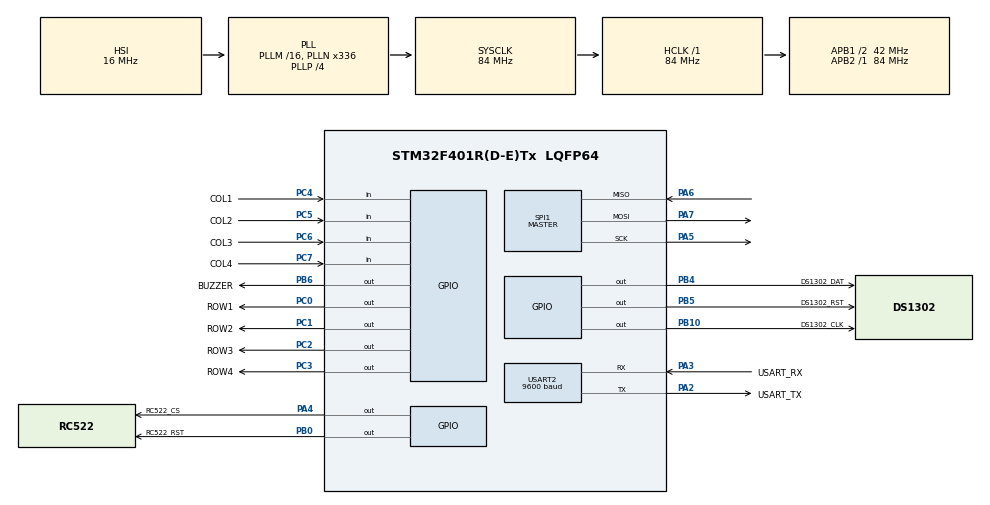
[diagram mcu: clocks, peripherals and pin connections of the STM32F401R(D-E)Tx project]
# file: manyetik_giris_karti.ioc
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Mcu.Family=STM32F4
Mcu.Name=STM32F401R(D-E)Tx
Mcu.Package=LQFP64
NVIC.PriorityGroup=NVIC_PRIORITYGROUP_0
PA14.GPIO_Label=TCK
PA14.Signal=SYS_JTCK-SWCLK
PA2.GPIO_Label=USART_TX
PA2.GPIO_Mode=GPIO_MODE_AF_PP
PA2.GPIO_PuPd=GPIO_NOPULL
PA2.GPIO_Speed=GPIO_SPEED_FREQ_LOW
PA2.Mode=Asynchronous
PA2.Signal=USART2_TX
PA3.GPIO_Label=USART_RX
PA3.GPIO_Mode=GPIO_MODE_AF_PP
PA3.GPIO_PuPd=GPIO_NOPULL
PA3.GPIO_Speed=GPIO_SPEED_FREQ_LOW
PA3.Mode=Asynchronous
PA3.Signal=USART2_RX
PA4.GPIO_Label=RC522_CS
PA4.PinState=GPIO_PIN_RESET
PA4.Signal=GPIO_Output
PA5.Mode=Full_Duplex_Master
PA5.Signal=SPI1_SCK
PA6.Mode=Full_Duplex_Master
PA6.Signal=SPI1_MISO
PA7.Mode=Full_Duplex_Master
PA7.Signal=SPI1_MOSI
PB0.GPIO_Label=RC522_RST
PB0.Signal=GPIO_Output
PB10.GPIO_Label=DS1302_CLK
PB10.Signal=GPIO_Output
PB4.GPIO_Label=DS1302_DAT
PB4.Signal=GPIO_Output
PB5.GPIO_Label=DS1302_RST
PB5.Signal=GPIO_Output
PB6.GPIO_Label=BUZZER
PB6.Signal=GPIO_Output
PC0.GPIO_Label=ROW1
PC0.PinState=GPIO_PIN_SET
PC0.Signal=GPIO_Output
PC1.GPIO_Label=ROW2
PC1.PinState=GPIO_PIN_SET
PC1.Signal=GPIO_Output
PC14-OSC32_IN.Signal=RCC_OSC32_IN
PC15-OSC32_OUT.Signal=RCC_OSC32_OUT
PC2.GPIO_Label=ROW3
PC2.PinState=GPIO_PIN_SET
PC2.Signal=GPIO_Output
PC3.GPIO_Label=ROW4
PC3.PinState=GPIO_PIN_SET
PC3.Signal=GPIO_Output
PC4.GPIO_Label=COL1
PC4.GPIO_PuPd=GPIO_PULLUP
PC4.Signal=GPIO_Input
PC5.GPIO_Label=COL2
PC5.GPIO_PuPd=GPIO_PULLUP
PC5.Signal=GPIO_Input
PC6.GPIO_Label=COL3
PC6.GPIO_PuPd=GPIO_PULLUP
PC6.Signal=GPIO_Input
PC7.GPIO_Label=COL4
PC7.GPIO_PuPd=GPIO_PULLUP
PC7.Signal=GPIO_Input
PH0\ -\ OSC_IN.Signal=RCC_OSC_IN
PH1\ -\ OSC_OUT.Signal=RCC_OSC_OUT
ProjectManager.HeapSize=0x200
ProjectManager.StackSize=0x400
ProjectManager.TargetToolchain=STM32CubeIDE
RCC.AHBFreq_Value=84000000
RCC.APB1CLKDivider=RCC_HCLK_DIV2
RCC.APB1Freq_Value=42000000
RCC.APB1TimFreq_Value=84000000
RCC.APB2Freq_Value=84000000
RCC.APB2TimFreq_Value=84000000
RCC.CortexFreq_Value=84000000
RCC.HCLKFreq_Value=84000000
RCC.HSE_VALUE=8000000
RCC.HSI_VALUE=16000000
RCC.LSE_VALUE=32768
RCC.PLLN=336
RCC.PLLP=RCC_PLLP_DIV4
RCC.PLLQ=7
RCC.SYSCLKFreq_VALUE=84000000
RCC.SYSCLKSource=RCC_SYSCLKSOURCE_PLLCLK
RCC.VCOOutputFreq_Value=336000000
SPI1.Direction=SPI_DIRECTION_2LINES
SPI1.Mode=SPI_MODE_MASTER
SPI1.VirtualType=VM_MASTER
USART2.BaudRate=9600
USART2.VirtualMode=VM_ASYNC
board=NUCLEO-F401RE

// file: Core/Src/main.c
/* USER CODE BEGIN Header */
/**
  ******************************************************************************
  * @file           : main.c
  * @brief          : Main program body
  ******************************************************************************
  */
/* USER CODE END Header */
#include "main.h"

/* USER CODE BEGIN Includes */
#include <stdio.h>
#include <string.h>
#include "ds1302.h"
#include "rc522.h"
/* USER CODE END Includes */

/* USER CODE BEGIN PD */
// Pin Tanımlamaları
#define GPIO_PIN_ROW1 GPIO_PIN_0
#define GPIO_PIN_ROW2 GPIO_PIN_1
#define GPIO_PIN_ROW3 GPIO_PIN_2
#define GPIO_PIN_ROW4 GPIO_PIN_3

#define GPIO_PIN_COL1 GPIO_PIN_4
#define GPIO_PIN_COL2 GPIO_PIN_5
#define GPIO_PIN_COL3 GPIO_PIN_6
#define GPIO_PIN_COL4 GPIO_PIN_7
/* USER CODE END PD */

SPI_HandleTypeDef hspi1;
UART_HandleTypeDef huart2;

void SystemClock_Config(void);
static void MX_GPIO_Init(void);
static void MX_SPI1_Init(void);
static void MX_USART2_UART_Init(void);

/* USER CODE BEGIN 0 */

char keypad_map[4][4] = {
  {'1', '2', '3', 'A'},
  {'4', '5', '6', 'B'},
  {'7', '8', '9', 'C'},
  {'*', '0', '#', 'D'}
};

char Keypad_Oku(void)
{
    uint16_t ROW_PINS[4] = {GPIO_PIN_ROW1, GPIO_PIN_ROW2, GPIO_PIN_ROW3, GPIO_PIN_ROW4};
    uint16_t COL_PINS[4] = {GPIO_PIN_COL1, GPIO_PIN_COL2, GPIO_PIN_COL3, GPIO_PIN_COL4};

    for(int i = 0; i < 4; i++)
    {
        // 1. ÖNCE TÜM SATIRLARI '1' YAP (Elektriği Kes)
        HAL_GPIO_WritePin(GPIOC, GPIO_PIN_ROW1 | GPIO_PIN_ROW2 | GPIO_PIN_ROW3 | GPIO_PIN_ROW4, GPIO_PIN_SET);

        // 2. Sadece o anki satırı '0' YAP (Aktif et)
        HAL_GPIO_WritePin(GPIOC, ROW_PINS[i], GPIO_PIN_RESET);

        // 3. Voltajın oturması için bekle (Hayalet tuşları engeller)
        HAL_Delay(2);

        // 4. Sütunları tara
        for(int j = 0; j < 4; j++)
        {
            // Tuşa basıldı mı? (0 mı okundu?)
            if(HAL_GPIO_ReadPin(GPIOC, COL_PINS[j]) == GPIO_PIN_RESET)
            {
                // Emin olmak için bekle (Debounce)
                HAL_Delay(50);

                // Hala basılı mı?
                if(HAL_GPIO_ReadPin(GPIOC, COL_PINS[j]) == GPIO_PIN_RESET)
                {
                    // Tuşu döndür
                    return keypad_map[i][j];
                }
            }
        }
    }
    return 0; // Tuşa basılmadı
}
/* USER CODE END 0 */

int main(void)
{
  /* USER CODE BEGIN 1 */
  uint8_t CardID[5];
  char buffer[100];
  DS1302_Time time;

  uint32_t son_rfid_kontrol = 0;
  uint32_t son_kart_okuma_zamani = 0;
  /* USER CODE END 1 */

  /* MCU Configuration--------------------------------------------------------*/
  HAL_Init();
  SystemClock_Config();
  MX_GPIO_Init();
  MX_SPI1_Init();
  MX_USART2_UART_Init();

  /* USER CODE BEGIN 2 */
  DS1302_Init();
  MFRC522_Init();
  HAL_UART_Transmit(&huart2, (uint8_t*)"Sistem Baslatildi...\r\n", 22, 100);
  /* USER CODE END 2 */

  /* Infinite loop */
  /* USER CODE BEGIN WHILE */
  while (1)
  {
      // =========================================================
      // 1. KEYPAD KONTROLÜ
      // =========================================================
      char basilanTus = Keypad_Oku();

      if(basilanTus != 0)
      {
          // 1. Veriyi Gönder
          char keyMsg[20];
          sprintf(keyMsg, "KEY:%c\r\n", basilanTus);
          HAL_UART_Transmit(&huart2, (uint8_t*)keyMsg, strlen(keyMsg), 100);

          // 2. Ses Çıkar (Bip)
          HAL_GPIO_WritePin(BUZZER_GPIO_Port, BUZZER_Pin, GPIO_PIN_SET);
          HAL_Delay(50);
          HAL_GPIO_WritePin(BUZZER_GPIO_Port, BUZZER_Pin, GPIO_PIN_RESET);

          // 3. Tuştan parmağını çekene kadar bekle (Spam engelleme)
          while(Keypad_Oku() == basilanTus)
          {
        	  HAL_Delay(10); // İşlemciyi yorma
          }
      }

      // =========================================================
      // 2. RFID KONTROLÜ (ZAMANLAYICI İLE)
      // =========================================================

      uint32_t simdi = HAL_GetTick();

      // 200ms geçtiyse ve son kart okumanın üzerinden 2 saniye geçtiyse
      if ((simdi - son_rfid_kontrol > 200) && (simdi - son_kart_okuma_zamani > 2000))
      {
          son_rfid_kontrol = simdi;

          if (MFRC522_Check(CardID) == MI_OK)
          {
              // Kart bulundu!
              DS1302_GetTime(&time);

              // Ses
              HAL_GPIO_WritePin(BUZZER_GPIO_Port, BUZZER_Pin, GPIO_PIN_SET);
              HAL_Delay(100);
              HAL_GPIO_WritePin(BUZZER_GPIO_Port, BUZZER_Pin, GPIO_PIN_RESET);

              // Veri Gönderimi
              sprintf(buffer, "UID:%02X-%02X-%02X-%02X-%02X,TARIH:%02d/%02d/20%02d %02d:%02d:%02d\r\n",
              CardID[0], CardID[1], CardID[2], CardID[3], CardID[4],
              time.dayofmonth, time.month, time.year,
              time.hour, time.minutes, time.seconds);

              HAL_UART_Transmit(&huart2, (uint8_t*)buffer, strlen(buffer), 100);

              // Kart okundu, cooldown başlat
              son_kart_okuma_zamani = HAL_GetTick();
          }
      }

      // Döngü çok hızlı dönüp işlemciyi yormasın
      HAL_Delay(1);
  }
  /* USER CODE END WHILE */
}

void SystemClock_Config(void)
{
  RCC_OscInitTypeDef RCC_OscInitStruct = {0};
  RCC_ClkInitTypeDef RCC_ClkInitStruct = {0};

  /** Configure the main internal regulator output voltage
  */
  __HAL_RCC_PWR_CLK_ENABLE();
  __HAL_PWR_VOLTAGESCALING_CONFIG(PWR_REGULATOR_VOLTAGE_SCALE2);

  /** Initializes the RCC Oscillators according to the specified parameters
  * in the RCC_OscInitTypeDef structure.
  */
  RCC_OscInitStruct.OscillatorType = RCC_OSCILLATORTYPE_HSI;
  RCC_OscInitStruct.HSIState = RCC_HSI_ON;
  RCC_OscInitStruct.HSICalibrationValue = RCC_HSICALIBRATION_DEFAULT;
  RCC_OscInitStruct.PLL.PLLState = RCC_PLL_ON;
  RCC_OscInitStruct.PLL.PLLSource = RCC_PLLSOURCE_HSI;
  RCC_OscInitStruct.PLL.PLLM = 16;
  RCC_OscInitStruct.PLL.PLLN = 336;
  RCC_OscInitStruct.PLL.PLLP = RCC_PLLP_DIV4;
  RCC_OscInitStruct.PLL.PLLQ = 7;
  if (HAL_RCC_OscConfig(&RCC_OscInitStruct) != HAL_OK)
  {
    Error_Handler();
  }

  /** Initializes the CPU, AHB and APB buses clocks
  */
  RCC_ClkInitStruct.ClockType = RCC_CLOCKTYPE_HCLK|RCC_CLOCKTYPE_SYSCLK
                              |RCC_CLOCKTYPE_PCLK1|RCC_CLOCKTYPE_PCLK2;
  RCC_ClkInitStruct.SYSCLKSource = RCC_SYSCLKSOURCE_PLLCLK;
  RCC_ClkInitStruct.AHBCLKDivider = RCC_SYSCLK_DIV1;
  RCC_ClkInitStruct.APB1CLKDivider = RCC_HCLK_DIV2;
  RCC_ClkInitStruct.APB2CLKDivider = RCC_HCLK_DIV1;

  if (HAL_RCC_ClockConfig(&RCC_ClkInitStruct, FLASH_LATENCY_2) != HAL_OK)
  {
    Error_Handler();
  }
}

static void MX_SPI1_Init(void)
{
  hspi1.Instance = SPI1;
  hspi1.Init.Mode = SPI_MODE_MASTER;
  hspi1.Init.Direction = SPI_DIRECTION_2LINES;
  hspi1.Init.DataSize = SPI_DATASIZE_8BIT;
  hspi1.Init.CLKPolarity = SPI_POLARITY_LOW;
  hspi1.Init.CLKPhase = SPI_PHASE_1EDGE;
  hspi1.Init.NSS = SPI_NSS_SOFT;
  hspi1.Init.BaudRatePrescaler = SPI_BAUDRATEPRESCALER_16;
  hspi1.Init.FirstBit = SPI_FIRSTBIT_MSB;
  hspi1.Init.TIMode = SPI_TIMODE_DISABLE;
  hspi1.Init.CRCCalculation = SPI_CRCCALCULATION_DISABLE;
  hspi1.Init.CRCPolynomial = 10;
  if (HAL_SPI_Init(&hspi1) != HAL_OK)
  {
    Error_Handler();
  }
}

static void MX_USART2_UART_Init(void)
{
  huart2.Instance = USART2;
  huart2.Init.BaudRate = 9600;
  huart2.Init.WordLength = UART_WORDLENGTH_8B;
  huart2.Init.StopBits = UART_STOPBITS_1;
  huart2.Init.Parity = UART_PARITY_NONE;
  huart2.Init.Mode = UART_MODE_TX_RX;
  huart2.Init.HwFlowCtl = UART_HWCONTROL_NONE;
  huart2.Init.OverSampling = UART_OVERSAMPLING_16;
  if (HAL_UART_Init(&huart2) != HAL_OK)
  {
    Error_Handler();
  }
}

static void MX_GPIO_Init(void)
{
  GPIO_InitTypeDef GPIO_InitStruct = {0};

  /* GPIO Ports Clock Enable */
  __HAL_RCC_GPIOC_CLK_ENABLE();
  __HAL_RCC_GPIOH_CLK_ENABLE();
  __HAL_RCC_GPIOA_CLK_ENABLE();
  __HAL_RCC_GPIOB_CLK_ENABLE();

  /*Configure GPIO pin Output Level */
  HAL_GPIO_WritePin(RC522_CS_GPIO_Port, RC522_CS_Pin, GPIO_PIN_RESET);

  /*Configure GPIO pin Output Level */
  HAL_GPIO_WritePin(GPIOB, RC522_RST_Pin|DS1302_CLK_Pin|DS1302_DAT_Pin|DS1302_RST_Pin
                          |BUZZER_Pin, GPIO_PIN_RESET);

  /*Configure GPIO pin : RC522_CS_Pin */
  GPIO_InitStruct.Pin = RC522_CS_Pin;
  GPIO_InitStruct.Mode = GPIO_MODE_OUTPUT_PP;
  GPIO_InitStruct.Pull = GPIO_NOPULL;
  GPIO_InitStruct.Speed = GPIO_SPEED_FREQ_LOW;
  HAL_GPIO_Init(RC522_CS_GPIO_Port, &GPIO_InitStruct);

  /*Configure GPIO pins : RC522_RST_Pin DS1302_CLK_Pin DS1302_DAT_Pin DS1302_RST_Pin
                           BUZZER_Pin */
  GPIO_InitStruct.Pin = RC522_RST_Pin|DS1302_CLK_Pin|DS1302_DAT_Pin|DS1302_RST_Pin
                          |BUZZER_Pin;
  GPIO_InitStruct.Mode = GPIO_MODE_OUTPUT_PP;
  GPIO_InitStruct.Pull = GPIO_NOPULL;
  GPIO_InitStruct.Speed = GPIO_SPEED_FREQ_LOW;
  HAL_GPIO_Init(GPIOB, &GPIO_InitStruct);

  /* --- KEYPAD AYARLARI BURADA YAPILIYOR --- */

  /* 1. KEYPAD ROW (SATIR) PİNLERİ: Output (Çıkış) */
  /* PC0, PC1, PC2, PC3 */
  GPIO_InitStruct.Pin = GPIO_PIN_0|GPIO_PIN_1|GPIO_PIN_2|GPIO_PIN_3;
  GPIO_InitStruct.Mode = GPIO_MODE_OUTPUT_PP;
  GPIO_InitStruct.Pull = GPIO_NOPULL;
  GPIO_InitStruct.Speed = GPIO_SPEED_FREQ_LOW;
  HAL_GPIO_Init(GPIOC, &GPIO_InitStruct);

  /* 2. KEYPAD COL (SÜTUN) PİNLERİ: Input (Giriş) ve PULL-UP */
  /* PC4, PC5, PC6, PC7 */
  /* Bu Pull-Up ayarı hayalet tuşları engeller! */
  GPIO_InitStruct.Pin = GPIO_PIN_4|GPIO_PIN_5|GPIO_PIN_6|GPIO_PIN_7;
  GPIO_InitStruct.Mode = GPIO_MODE_INPUT;
  GPIO_InitStruct.Pull = GPIO_PULLUP;
  HAL_GPIO_Init(GPIOC, &GPIO_InitStruct);
}

void Error_Handler(void)
{
  __disable_irq();
  while (1)
  {
  }
}
